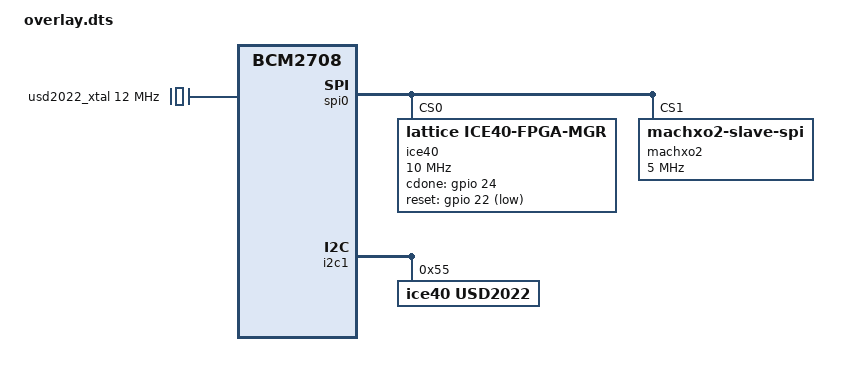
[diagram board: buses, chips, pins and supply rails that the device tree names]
/dts-v1/;
/plugin/;

/ {
  compatible="brcm,bcm2708";

  fragment@0 {
    target = <&spi0>;
    __overlay__ {
      status = "okay";

      spidev@0 {
        status = "disabled";
      };

      spidev@1 {
        status = "disabled";
      };
    };
  };

  fragment@1 {
    target = <&spi0>;

    __overlay__ {
      /* needed to avoid dtc warning */
      #address-cells = <1>;
      #size-cells = <0>;

      ice40: ice40@0 {
        compatible = "lattice,ice40-fpga-mgr";
	reg = <0>;
        spi-max-frequency = <10000000>;
        cdone-gpios = <&gpio 24 0>;
	reset-gpios = <&gpio 22 1>;
      };

      machxo2: machxo2@1 {
	compatible = "machxo2-slave-spi";
	reg = <1>;
	spi-max-frequency = <5000000>;
      };
    };
  };

  fragment@2 {
    target = <&i2c1>;
    __overlay__ {
        status = "okay";
    };
  };

  fragment@3 {
        target-path = "/";

        __overlay__ {
                  /* Fixed XTAL clock node */
                usd2022_xtal: clock {
                        compatible = "fixed-clock";
                        #clock-cells = <0>;
                        clock-frequency = <12000000>;
                };
        };
  };

  fragment@4 {
    target = <&i2c1>;

        __overlay__ {
        /* needed to avoid dtc warning */
        #address-cells = <1>;
        #size-cells = <0>;
                usd2022: usd2022@55 {
                        compatible = "ice40,usd2022";
                        reg = <0x55>;
                        #address-cells = <1>;
                        #size-cells = <1>;

                        clocks = <&usd2022_xtal>;
                        firmware-name = "ice40.bin";
                };
        };
    };

};
